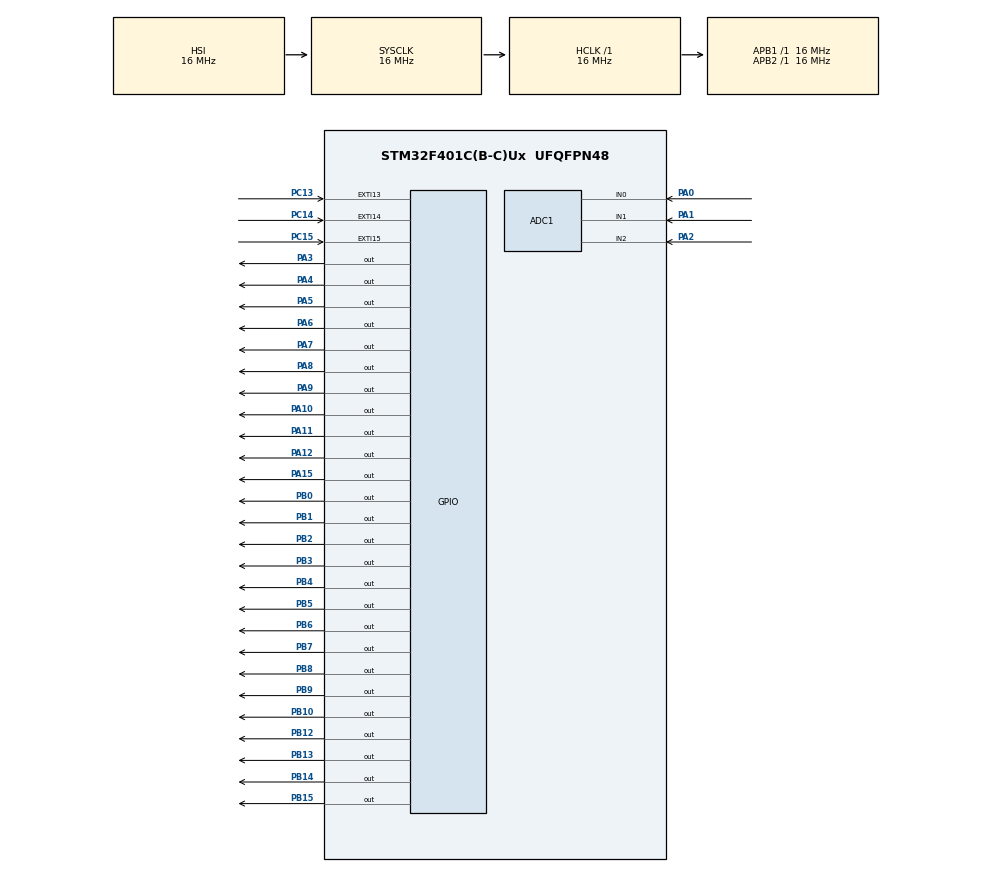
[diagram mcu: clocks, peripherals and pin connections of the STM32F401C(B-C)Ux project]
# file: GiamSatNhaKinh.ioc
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ADC1.Channel-0\#ChannelRegularConversion=ADC_CHANNEL_0
ADC1.NbrOfConversionFlag=1
ADC1.Rank-0\#ChannelRegularConversion=1
ADC1.SamplingTime-0\#ChannelRegularConversion=ADC_SAMPLETIME_3CYCLES
ADC1.master=1
Mcu.Family=STM32F4
Mcu.Name=STM32F401C(B-C)Ux
Mcu.Package=UFQFPN48
NVIC.ADC_IRQn=true\:0\:0\:false\:false\:true\:true\:true\:true
NVIC.EXTI15_10_IRQn=true\:0\:0\:false\:false\:true\:true\:true\:true
NVIC.PriorityGroup=NVIC_PRIORITYGROUP_4
PA0-WKUP.Signal=ADCx_IN0
PA1.Signal=ADCx_IN1
PA10.Signal=GPIO_Output
PA11.Signal=GPIO_Output
PA12.Signal=GPIO_Output
PA13.Mode=Serial_Wire
PA13.Signal=SYS_JTMS-SWDIO
PA14.Mode=Serial_Wire
PA14.Signal=SYS_JTCK-SWCLK
PA15.Signal=GPIO_Output
PA2.Signal=ADCx_IN2
PA3.Signal=GPIO_Output
PA4.Signal=GPIO_Output
PA5.Signal=GPIO_Output
PA6.Signal=GPIO_Output
PA7.Signal=GPIO_Output
PA8.Signal=GPIO_Output
PA9.Signal=GPIO_Output
PB0.Signal=GPIO_Output
PB1.Signal=GPIO_Output
PB10.Signal=GPIO_Output
PB12.Signal=GPIO_Output
PB13.Signal=GPIO_Output
PB14.Signal=GPIO_Output
PB15.Signal=GPIO_Output
PB2.Signal=GPIO_Output
PB3.Signal=GPIO_Output
PB4.Signal=GPIO_Output
PB5.Signal=GPIO_Output
PB6.Signal=GPIO_Output
PB7.Signal=GPIO_Output
PB8.Signal=GPIO_Output
PB9.Signal=GPIO_Output
PC13-ANTI_TAMP.Signal=GPXTI13
PC14-OSC32_IN.Signal=GPXTI14
PC15-OSC32_OUT.Signal=GPXTI15
ProjectManager.HeapSize=0x200
ProjectManager.StackSize=0x400
ProjectManager.TargetToolchain=STM32CubeIDE
RCC.AHBFreq_Value=16000000
RCC.APB1Freq_Value=16000000
RCC.APB2Freq_Value=16000000
RCC.CortexFreq_Value=16000000
RCC.HSE_VALUE=25000000
RCC.HSI_VALUE=16000000
RCC.LSE_VALUE=32768
RCC.SYSCLKFreq_VALUE=16000000
RCC.VCOOutputFreq_Value=192000000
SH.ADCx_IN0.0=ADC1_IN0,IN0
SH.ADCx_IN1.0=ADC1_IN1,IN1
SH.ADCx_IN2.0=ADC1_IN2,IN2
TIM2.Prescaler=15
VP_TIM2_VS_ClockSourceINT.Mode=Internal
board=custom

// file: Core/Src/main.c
/* USER CODE BEGIN Header */
/**
    ******************************************************************************
    * @file           : main.c
    * @brief          : Main program body
    ******************************************************************************
    * @attention
    *
    * Copyright (c) 2025 STMicroelectronics.
    * All rights reserved.
    *
    * This software is licensed under terms that can be found in the LICENSE file
    * in the root directory of this software component.
    * If no LICENSE file comes with this software, it is provided AS-IS.
    *
    ******************************************************************************
    */
/* USER CODE END Header */
#include "main.h"
#include "lcd_16x2.h"

/* USER CODE BEGIN Includes */
int mode = 0;
int ldr_val = 0;
int mq135_val = 0;
int ledMatrix[8];
int ldr_matrix[8][8] = {
        {0x00, 0x00, 0x00, 0x00, 0x00, 0x00, 0x00, 0x80},
        {0x00, 0x00, 0x00, 0x00, 0x00, 0x00, 0x40, 0xC0},
        {0x00, 0x00, 0x00, 0x00, 0x00, 0x20, 0x60, 0xE0},
        {0x00, 0x00, 0x00, 0x00, 0x10, 0x30, 0x70, 0xF0},
        {0x00, 0x00, 0x00, 0x08, 0x18, 0x38, 0x78, 0xF8},
        {0x00, 0x00, 0x04, 0x0C, 0x1C, 0x3C, 0x7C, 0xFC},
        {0x00, 0x02, 0x06, 0x0E, 0x1E, 0x3E, 0x7E, 0xFE},
        {0x01, 0x03, 0x07, 0x0F, 0x1F, 0x3F, 0x7F, 0xFF}
};
int maled[10] = {
        0b00111111, // 0
        0b00000110, // 1
        0b01011011, // 2
        0b01001111, // 3
        0b01100110, // 4
        0b01101101, // 5
        0b01111101, // 6
        0b00000111, // 7
        0b01111111, // 8
        0b01101111  // 9
};
/* USER CODE END Includes */

ADC_HandleTypeDef hadc1;
TIM_HandleTypeDef htim2;

void SystemClock_Config(void);
static void MX_GPIO_Init(void);
static void MX_ADC1_Init(void);
static void MX_TIM2_Init(void);

/* USER CODE BEGIN 0 */
//Khởi tạo delay
void Delay_us(uint16_t us) {
    __HAL_TIM_SET_COUNTER(&htim2, 0);  // Reset bộ đếm
    HAL_TIM_Base_Start(&htim2);        // Bắt đầu Timer
    while (__HAL_TIM_GET_COUNTER(&htim2) < us);
    HAL_TIM_Base_Stop(&htim2);         // Dừng Timer nếu muốn
}

void setinput() {
    GPIO_InitTypeDef GPIO_InitStruct = {0};
    GPIO_InitStruct.Pin = GPIO_PIN_0;
    GPIO_InitStruct.Mode = GPIO_MODE_INPUT;
    GPIO_InitStruct.Pull = GPIO_NOPULL;
    HAL_GPIO_Init(GPIOA, &GPIO_InitStruct);
}

void setouput() {
    GPIO_InitTypeDef GPIO_InitStruct = {0};
    GPIO_InitStruct.Pin = GPIO_PIN_0;
    GPIO_InitStruct.Mode = GPIO_MODE_OUTPUT_PP;
    GPIO_InitStruct.Pull = GPIO_PULLUP;
    GPIO_InitStruct.Speed = GPIO_SPEED_FREQ_LOW;
    HAL_GPIO_Init(GPIOA, &GPIO_InitStruct);
}

void sendstart() {
    setouput();
    HAL_GPIO_WritePin(GPIOA, GPIO_PIN_0, SET);
    HAL_GPIO_WritePin(GPIOA, GPIO_PIN_0, RESET);
    HAL_Delay(18);
    HAL_GPIO_WritePin(GPIOA, GPIO_PIN_0, SET);
    Delay_us(20);

    //Doi phan hoi tu dht11
    setinput();
    while (HAL_GPIO_ReadPin(GPIOA, GPIO_PIN_0) == 1) {}; //Doi xuong 0
    while (HAL_GPIO_ReadPin(GPIOA, GPIO_PIN_0) == 0) {}; //Doi len 1
    while (HAL_GPIO_ReadPin(GPIOA, GPIO_PIN_0) == 1) {}; //Doi xuong 0
    //Khi da xuong 0 thi 4 bit bat dau chuyen
}

//Doc moi lan 8 bit (1byte)
int DHT11_read_data() {
    int res = 0;
    for (int i = 0; i < 8; i++) {
            while (HAL_GPIO_ReadPin(GPIOA, GPIO_PIN_0) == 0) {}; //Doi len 1
            Delay_us(50);
            if (HAL_GPIO_ReadPin(GPIOA, GPIO_PIN_0) == 1) {
                    //Neu da het 50us no van con o muc 2 thi la bit1
                    res = (res << 1) | (1 << 0);
            } else {
                    res = (res << 1) & ~(1 << 0);
            }
            while (HAL_GPIO_ReadPin(GPIOA, GPIO_PIN_0) == 1) {}; //Doi xuong 0
    }
    return res;
}

//Đọc giá trị kênh ADC
uint16_t readADC(uint32_t channel) {
    ADC_ChannelConfTypeDef sConfig = {0};
    sConfig.Channel = channel;
    sConfig.Rank = 1;
    sConfig.SamplingTime = ADC_SAMPLETIME_3CYCLES;

    HAL_ADC_ConfigChannel(&hadc1, &sConfig);
    HAL_ADC_Start(&hadc1);
    HAL_ADC_PollForConversion(&hadc1, HAL_MAX_DELAY);
    uint16_t value = HAL_ADC_GetValue(&hadc1);
    HAL_ADC_Stop(&hadc1);

    return value;
}

int int_temp = 0, int_hump = 0;
float float_temp = 0, float_hump = 0;
uint8_t check = 0;
int nhietdo_canhbao = 40;

uint32_t lastUpdate = 0;

//Đọc dữ liệu
void read_full_data() {
    sendstart();
    int_hump = DHT11_read_data();
    float_temp = DHT11_read_data();
    int_temp = DHT11_read_data();
    float_hump = DHT11_read_data();
    check = DHT11_read_data();
}

// Chân column (PA3 -> PA10)
#define ROW1_Pin GPIO_PIN_0
#define ROW1_GPIO_Port GPIOB
#define ROW2_Pin GPIO_PIN_1
#define ROW2_GPIO_Port GPIOB
#define ROW3_Pin GPIO_PIN_2
#define ROW3_GPIO_Port GPIOB
#define ROW4_Pin GPIO_PIN_3
#define ROW4_GPIO_Port GPIOB
#define ROW5_Pin GPIO_PIN_4
#define ROW5_GPIO_Port GPIOB
#define ROW6_Pin GPIO_PIN_5
#define ROW6_GPIO_Port GPIOB
#define ROW7_Pin GPIO_PIN_6
#define ROW7_GPIO_Port GPIOB
#define ROW8_Pin GPIO_PIN_7
#define ROW8_GPIO_Port GPIOB

#define COL1_Pin GPIO_PIN_3
#define COL1_GPIO_Port GPIOA
#define COL2_Pin GPIO_PIN_4
#define COL2_GPIO_Port GPIOA
#define COL3_Pin GPIO_PIN_5
#define COL3_GPIO_Port GPIOA
#define COL4_Pin GPIO_PIN_6
#define COL4_GPIO_Port GPIOA
#define COL5_Pin GPIO_PIN_7
#define COL5_GPIO_Port GPIOA
#define COL6_Pin GPIO_PIN_8
#define COL6_GPIO_Port GPIOA
#define COL7_Pin GPIO_PIN_9
#define COL7_GPIO_Port GPIOA
#define COL8_Pin GPIO_PIN_10
#define COL8_GPIO_Port GPIOA

//Mảng lưu trữ các chân hàng
GPIO_TypeDef* rowPorts[8] = {
    ROW1_GPIO_Port, ROW2_GPIO_Port, ROW3_GPIO_Port, ROW4_GPIO_Port,
    ROW5_GPIO_Port, ROW6_GPIO_Port, ROW7_GPIO_Port, ROW8_GPIO_Port
};
uint16_t rowPins[8] = {
    ROW1_Pin, ROW2_Pin, ROW3_Pin, ROW4_Pin,
    ROW5_Pin, ROW6_Pin, ROW7_Pin, ROW8_Pin
};

// Mảng lưu trữ các chân cột
GPIO_TypeDef* colPorts[8] = {
    COL1_GPIO_Port, COL2_GPIO_Port, COL3_GPIO_Port, COL4_GPIO_Port,
    COL5_GPIO_Port, COL6_GPIO_Port, COL7_GPIO_Port, COL8_GPIO_Port
};
uint16_t colPins[8] = {
    COL1_Pin, COL2_Pin, COL3_Pin, COL4_Pin,
    COL5_Pin, COL6_Pin, COL7_Pin, COL8_Pin
};

// Hàm quét LED matrix
void scanLedMatrix() {
    for (int i = 0; i < 24; i++) {
        for (int row = 0; row < 8; row++) {
            // Bật hàng
            HAL_GPIO_WritePin(rowPorts[row], rowPins[row], 1);

            // Dặt dữ liệu cột
            for (int col = 0; col < 8; col++) {
                if ((ledMatrix[row] >> (7 - col)) & 0x01) { //7-col để đảo theo trục Y
                    HAL_GPIO_WritePin(colPorts[col], colPins[col], 0); // Âm chung: Bật LED
                } else {
                    HAL_GPIO_WritePin(colPorts[col], colPins[col], 1); // Âm chung: Tắt LED
                }
            }

            // Tắt hàng và cột
            HAL_GPIO_WritePin(rowPorts[row], rowPins[row], 0);
            for (int col = 0; col < 8; col++) {
                HAL_GPIO_WritePin(colPorts[col], colPins[col], 1);
            }
        }
    }
}

//Led 7 doan
void hienthi(int x) {
    uint8_t chuc = 0;
    uint8_t donvi = 0;
    chuc = x / 10;
    donvi = x % 10;

    //Hang don vi
    HAL_GPIO_WritePin(GPIOB, maled[donvi], 1);
    HAL_GPIO_WritePin(GPIOA, GPIO_PIN_11, 1);
    HAL_GPIO_WritePin(GPIOA, GPIO_PIN_12, 0);
    HAL_Delay(0);
    HAL_GPIO_WritePin(GPIOB, maled[donvi], 0);

    //Hang chuc
    HAL_GPIO_WritePin(GPIOB, maled[chuc], 1);
    HAL_GPIO_WritePin(GPIOA, GPIO_PIN_11, 0);
    HAL_GPIO_WritePin(GPIOA, GPIO_PIN_12, 1);
    HAL_Delay(0);
    HAL_GPIO_WritePin(GPIOB, maled[chuc], 0);
}

void scan_Matrix_7(int i) {
    for (int j = 0; j < 6; j++) {
    	// Hiển thị LED 7 đoạn trước
		hienthi(i);  // Hiển thị số i

		// Tạm tắt LED 7 đoạn để không chồng tín hiệu
		HAL_GPIO_WritePin(GPIOA, GPIO_PIN_11, 1);
		HAL_GPIO_WritePin(GPIOA, GPIO_PIN_12, 1);

		// Quét LED ma trận 1 lần
		scanLedMatrix();
    }
}

// Menu
void mode_0() {
    Lcd_clear_display();
    Lcd_gotoxy(0, 0);
    Lcd_write_string("1. Khong khi");
    Lcd_gotoxy(0, 1);
    Lcd_write_string("2. Nhiet do");
}

void HAL_GPIO_EXTI_Callback(uint16_t GPIO_Pin) {
    switch (GPIO_Pin) {
        case GPIO_PIN_13: // Nút 1
            if (mode == 0)
                mode = 1;
            else if (mode == 2)
                nhietdo_canhbao++; // Tăng ngưỡng
            break;

        case GPIO_PIN_14: // Nút 2
            if (mode == 0)
                mode = 2;
            else if (mode == 2 && nhietdo_canhbao > 0)
                nhietdo_canhbao--; // Giảm ngưỡng
            break;

        case GPIO_PIN_15: // Nút 3
            mode = 0;
            break;
    }
}

void update_ledMatrix_from_ldr() {
    int index = (ldr_val - 500) * 7 / (3500 - 500);
    index = 7 - index;

    if (index < 0) index = 0;
    if (index > 7) index = 7;

    for (int i = 0; i < 8; i++) {
        ledMatrix[i] = ldr_matrix[index][i];
    }
}
/* USER CODE END 0 */

int main(void) {

    /* MCU Configuration--------------------------------------------------------*/

    /* Reset of all peripherals, Initializes the Flash interface and the Systick. */
    HAL_Init();

    /* Configure the system clock */
    SystemClock_Config();

    /* Initialize all configured peripherals */
    MX_GPIO_Init();
    MX_ADC1_Init();
    MX_TIM2_Init();
    HAL_TIM_Base_Start(&htim2);

    /* Infinite loop */
    /* USER CODE BEGIN WHILE */
    Lcd_Init();
    Lcd_clear_display();

    read_full_data(); // Đọc DHT11 lần đầu
    while (1) {
        mq135_val = readADC(ADC_CHANNEL_1);
        ldr_val = readADC(ADC_CHANNEL_2);

        scan_Matrix_7(int_hump);
        update_ledMatrix_from_ldr();
        HAL_GPIO_WritePin(GPIOA, GPIO_PIN_15, 1);

        if (int_temp >= nhietdo_canhbao || mq135_val >= 4000) {
            HAL_GPIO_WritePin(GPIOA, GPIO_PIN_15, 0);
        }

        if (mode == 0) {
            Lcd_gotoxy(0, 0);
            Lcd_write_string("1. Khong khi      ");
            Lcd_gotoxy(0, 1);
            Lcd_write_string("2. Nhiet do       ");

        } else if (mode == 1) {
            Lcd_gotoxy(0, 0);
            Lcd_write_string("Khong khi:        ");

            if (mq135_val <= 4000) {
                Lcd_gotoxy(0, 1);
                //Lcd_write_int(mq135_val);
                Lcd_write_string("Tot            ");
                HAL_GPIO_WritePin(GPIOA, GPIO_PIN_15, 1);
                if (int_temp >= nhietdo_canhbao) {
                	HAL_GPIO_WritePin(GPIOA, GPIO_PIN_15, 0);
                }
            } else {
                Lcd_gotoxy(0, 1);
                //Lcd_write_int(mq135_val);
                Lcd_write_string("Te            ");
                HAL_GPIO_WritePin(GPIOA, GPIO_PIN_15, 0);
            }
        } else if (mode == 2) {
            read_full_data();
            Lcd_gotoxy(0, 0);
            Lcd_write_string("Nhiet do:       ");
            Lcd_gotoxy(10, 0);
            Lcd_write_int(int_temp);
            Lcd_gotoxy(13, 0);
            Lcd_write_string("C     ");
            Lcd_gotoxy(0, 1);
            Lcd_write_string("Canh bao:    ");
            Lcd_gotoxy(10, 1);
            Lcd_write_int(nhietdo_canhbao);
            Lcd_gotoxy(13, 1);
            Lcd_write_string("C       ");

            if (int_temp >= nhietdo_canhbao || mq135_val >= 4000) {
                HAL_GPIO_WritePin(GPIOA, GPIO_PIN_15, 0);
            } else {
                HAL_GPIO_WritePin(GPIOA, GPIO_PIN_15, 1);
            }
        }
    }
    /* USER CODE END 3 */
}

void SystemClock_Config(void) {
    RCC_OscInitTypeDef RCC_OscInitStruct = {0};
    RCC_ClkInitTypeDef RCC_ClkInitStruct = {0};

    /** Configure the main internal regulator output voltage
    */
    __HAL_RCC_PWR_CLK_ENABLE();
    __HAL_PWR_VOLTAGESCALING_CONFIG(PWR_REGULATOR_VOLTAGE_SCALE2);

    /** Initializes the RCC Oscillators according to the specified parameters
    * in the RCC_OscInitTypeDef structure.
    */
    RCC_OscInitStruct.OscillatorType = RCC_OSCILLATORTYPE_HSI;
    RCC_OscInitStruct.HSIState = RCC_HSI_ON;
    RCC_OscInitStruct.HSICalibrationValue = RCC_HSICALIBRATION_DEFAULT;
    RCC_OscInitStruct.PLL.PLLState = RCC_PLL_NONE;
    if (HAL_RCC_OscConfig(&RCC_OscInitStruct) != HAL_OK) {
        Error_Handler();
    }

    /** Initializes the CPU, AHB and APB buses clocks
    */
    RCC_ClkInitStruct.ClockType = RCC_CLOCKTYPE_HCLK | RCC_CLOCKTYPE_SYSCLK
        | RCC_CLOCKTYPE_PCLK1 | RCC_CLOCKTYPE_PCLK2;
    RCC_ClkInitStruct.SYSCLKSource = RCC_SYSCLKSOURCE_HSI;
    RCC_ClkInitStruct.AHBCLKDivider = RCC_SYSCLK_DIV1;
    RCC_ClkInitStruct.APB1CLKDivider = RCC_HCLK_DIV1;
    RCC_ClkInitStruct.APB2CLKDivider = RCC_HCLK_DIV1;

    if (HAL_RCC_ClockConfig(&RCC_ClkInitStruct, FLASH_LATENCY_0) != HAL_OK) {
        Error_Handler();
    }
}

static void MX_ADC1_Init(void) {

    ADC_ChannelConfTypeDef sConfig = {0};

    /** Configure the global features of the ADC (Clock, Resolution, Data Alignment and number of conversion)
    */
    hadc1.Instance = ADC1;
    hadc1.Init.ClockPrescaler = ADC_CLOCK_SYNC_PCLK_DIV2;
    hadc1.Init.Resolution = ADC_RESOLUTION_12B;
    hadc1.Init.ScanConvMode = DISABLE;
    hadc1.Init.ContinuousConvMode = DISABLE;
    hadc1.Init.DiscontinuousConvMode = DISABLE;
    hadc1.Init.ExternalTrigConvEdge = ADC_EXTERNALTRIGCONVEDGE_NONE;
    hadc1.Init.ExternalTrigConv = ADC_SOFTWARE_START;
    hadc1.Init.DataAlign = ADC_DATAALIGN_RIGHT;
    hadc1.Init.NbrOfConversion = 1;
    hadc1.Init.DMAContinuousRequests = DISABLE;
    hadc1.Init.EOCSelection = ADC_EOC_SINGLE_CONV;
    if (HAL_ADC_Init(&hadc1) != HAL_OK) {
        Error_Handler();
    }

    /** Configure for the selected ADC regular channel its corresponding rank in the sequencer and its sample time.
    */
    sConfig.Channel = ADC_CHANNEL_0;
    sConfig.Rank = 1;
    sConfig.SamplingTime = ADC_SAMPLETIME_3CYCLES;
    if (HAL_ADC_ConfigChannel(&hadc1, &sConfig) != HAL_OK) {
        Error_Handler();
    }
}

static void MX_TIM2_Init(void) {

    TIM_ClockConfigTypeDef sClockSourceConfig = {0};
    TIM_MasterConfigTypeDef sMasterConfig = {0};

    htim2.Instance = TIM2;
    htim2.Init.Prescaler = 15;
    htim2.Init.CounterMode = TIM_COUNTERMODE_UP;
    htim2.Init.Period = 4294967295;
    htim2.Init.ClockDivision = TIM_CLOCKDIVISION_DIV1;
    htim2.Init.AutoReloadPreload = TIM_AUTORELOAD_PRELOAD_DISABLE;
    if (HAL_TIM_Base_Init(&htim2) != HAL_OK) {
        Error_Handler();
    }
    sClockSourceConfig.ClockSource = TIM_CLOCKSOURCE_INTERNAL;
    if (HAL_TIM_ConfigClockSource(&htim2, &sClockSourceConfig) != HAL_OK) {
        Error_Handler();
    }
    sMasterConfig.MasterOutputTrigger = TIM_TRGO_RESET;
    sMasterConfig.MasterSlaveMode = TIM_MASTERSLAVEMODE_DISABLE;
    if (HAL_TIMEx_MasterConfigSynchronization(&htim2, &sMasterConfig) != HAL_OK) {
        Error_Handler();
    }
}

static void MX_GPIO_Init(void) {
    GPIO_InitTypeDef GPIO_InitStruct = {0};

    /* GPIO Ports Clock Enable */
    __HAL_RCC_GPIOC_CLK_ENABLE();
    __HAL_RCC_GPIOA_CLK_ENABLE();
    __HAL_RCC_GPIOB_CLK_ENABLE();

    /*Configure GPIO pin Output Level */
    HAL_GPIO_WritePin(GPIOA, GPIO_PIN_3 | GPIO_PIN_4 | GPIO_PIN_5 | GPIO_PIN_6
        | GPIO_PIN_7 | GPIO_PIN_8 | GPIO_PIN_9 | GPIO_PIN_10
        | GPIO_PIN_11 | GPIO_PIN_12 | GPIO_PIN_15, GPIO_PIN_RESET);

    /*Configure GPIO pin Output Level */
    HAL_GPIO_WritePin(GPIOB, GPIO_PIN_0 | GPIO_PIN_1 | GPIO_PIN_2 | GPIO_PIN_10
        | GPIO_PIN_12 | GPIO_PIN_13 | GPIO_PIN_14 | GPIO_PIN_15
        | GPIO_PIN_3 | GPIO_PIN_4 | GPIO_PIN_5 | GPIO_PIN_6
        | GPIO_PIN_7 | GPIO_PIN_8 | GPIO_PIN_9, GPIO_PIN_RESET);

    /*Configure GPIO pins : PC13 PC14 PC15 */
    GPIO_InitStruct.Pin = GPIO_PIN_13 | GPIO_PIN_14 | GPIO_PIN_15;
    GPIO_InitStruct.Mode = GPIO_MODE_IT_RISING;
    GPIO_InitStruct.Pull = GPIO_NOPULL;
    HAL_GPIO_Init(GPIOC, &GPIO_InitStruct);

    /*Configure GPIO pins : PA3 PA4 PA5 PA6
    PA7 PA8 PA9 PA10
    PA11 PA12 PA15 */
    GPIO_InitStruct.Pin = GPIO_PIN_3 | GPIO_PIN_4 | GPIO_PIN_5 | GPIO_PIN_6
        | GPIO_PIN_7 | GPIO_PIN_8 | GPIO_PIN_9 | GPIO_PIN_10
        | GPIO_PIN_11 | GPIO_PIN_12 | GPIO_PIN_15;
    GPIO_InitStruct.Mode = GPIO_MODE_OUTPUT_PP;
    GPIO_InitStruct.Pull = GPIO_NOPULL;
    GPIO_InitStruct.Speed = GPIO_SPEED_FREQ_LOW;
    HAL_GPIO_Init(GPIOA, &GPIO_InitStruct);

    /*Configure GPIO pins : PB0 PB1 PB2 PB10
    PB12 PB13 PB14 PB15
    PB3 PB4 PB5 PB6
    PB7 PB8 PB9 */
    GPIO_InitStruct.Pin = GPIO_PIN_0 | GPIO_PIN_1 | GPIO_PIN_2 | GPIO_PIN_10
        | GPIO_PIN_12 | GPIO_PIN_13 | GPIO_PIN_14 | GPIO_PIN_15
        | GPIO_PIN_3 | GPIO_PIN_4 | GPIO_PIN_5 | GPIO_PIN_6
        | GPIO_PIN_7 | GPIO_PIN_8 | GPIO_PIN_9;
    GPIO_InitStruct.Mode = GPIO_MODE_OUTPUT_PP;
    GPIO_InitStruct.Pull = GPIO_NOPULL;
    GPIO_InitStruct.Speed = GPIO_SPEED_FREQ_LOW;
    HAL_GPIO_Init(GPIOB, &GPIO_InitStruct);

    /* EXTI interrupt init*/
    HAL_NVIC_SetPriority(EXTI15_10_IRQn, 0, 0);
    HAL_NVIC_EnableIRQ(EXTI15_10_IRQn);

}

void Error_Handler(void) {
    __disable_irq();
    while (1) {
    }
}
